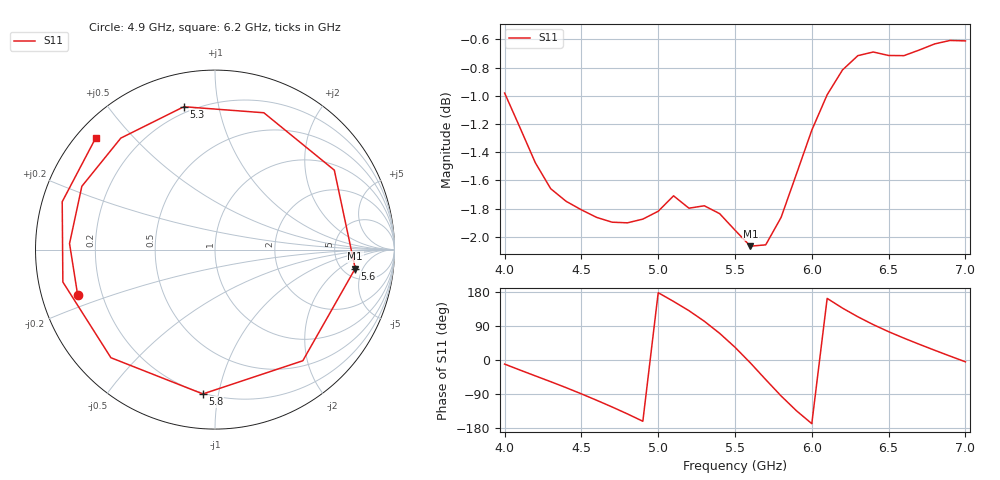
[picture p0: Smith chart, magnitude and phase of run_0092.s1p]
! Touchstone file exported from HFSS 2024.2.0
!  File:  C:/Users/wsak9/Desktop/Sim Fast/Widenad Patch/WP_AI_V1_sweep.aedt
!  Generated:  06:44:53 PM Oct 13, 2026
!  Design:  A1_model
!  Project:  WP_AI_V1_sweep
!  Setup:  Setup1
!  Solution:  Sweep
! Variables:
!  Air_gap = 3.27mm
!  Curve_Amp1 = 1.13
!  Curve_len1 = 1
!  Curve_pos = 10.91mm
!  Extra = 5.99mm
!  H_sub = 0.79mm
!  L_Patch = 17.82mm
!  L_Patch1 = 21.68mm
!  Sx = 2.47mm
!  Sy = 2.18mm
!  WS = 1.44mm
!  W_Patch = 14.52mm
!  W_Patch1 = 15.69mm
!Data is not renormalized
# GHz S MA
! Terminal data exported
! Port[1] = 1
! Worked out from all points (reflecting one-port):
!   31 points, 4 GHz to 7 GHz, reference per port
!   lowest |S11| = -2.1 dB at 5.6 GHz (marker M1), VSWR 8.45
!   phase of S11 starts at -11 deg and turns -714 deg over the sweep
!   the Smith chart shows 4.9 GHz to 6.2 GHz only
!   S11 on the Smith chart (normalised r, x): 4.9 GHz: 0.11, -0.16; 5.3 GHz: 0.17, +0.79; 5.6 GHz: 6.42, -3.57; 5.8 GHz: 0.20, -0.90; 6.2 GHz: 0.05, +0.39
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4  0.8933 -10.8
4.2  0.8439 -41.9
4.4  0.8178 -72.9
4.5  0.8121 -89.4
4.6  0.807 -106.4
4.7  0.8039 -124.0
4.8  0.8035 -142.3
4.9  0.8059 -161.7
5  0.8111 177.6
5.1  0.8214 154.6
5.2  0.8132 130.2
5.3  0.8148 102.3
5.4  0.8096 70.4
5.5  0.7987 33.7
5.6  0.7883 -7.7
5.7  0.7892 -51.7
5.8  0.807 -94.8
5.9  0.8362 -133.9
6  0.8666 -168.0
6.1  0.8921 162.6
6.2  0.9103 136.9
6.3  0.921 114.0
6.4  0.9238 93.4
6.5  0.9211 74.7
6.7  0.9253 41.4
6.8  0.9299 25.7
6.9  0.9325 10.3
7  0.9322 -4.8
